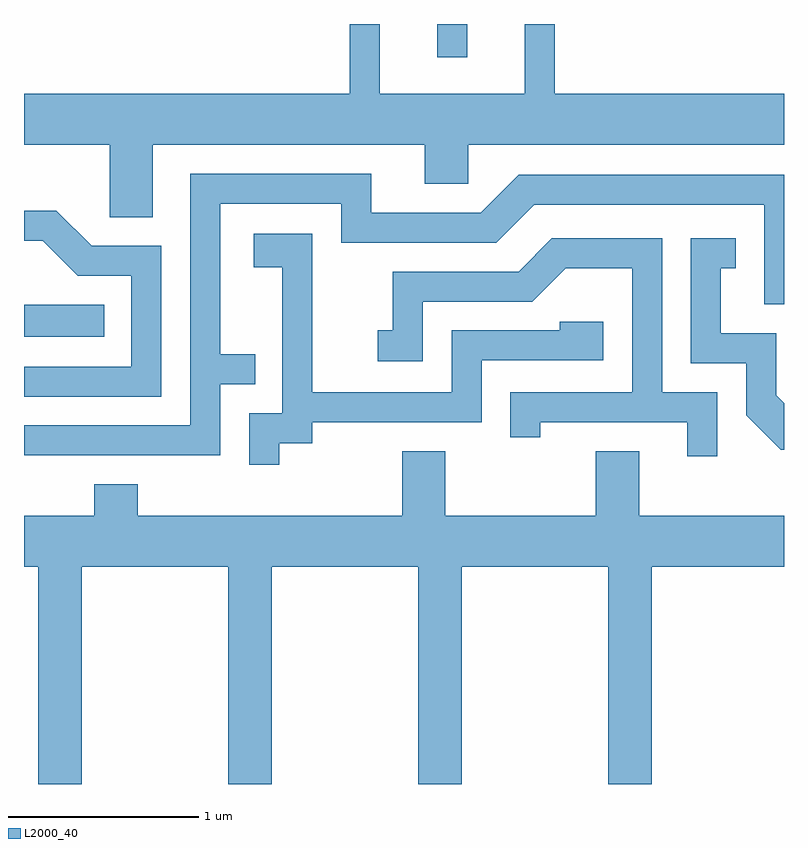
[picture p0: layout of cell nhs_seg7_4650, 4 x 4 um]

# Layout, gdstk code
import gdstk
lib = gdstk.Library(unit=1e-6, precision=1e-09)
def R(c, l, rs):  # rectangles x0, y0, x1, y1
    for r in rs: c.add(gdstk.rectangle(r[:2], r[2:], *l))
def P(c, l, *ps):  # polygons
    for p in ps: c.add(gdstk.Polygon(p, *l))
L2000_40 = (2000, 40)

nhs_seg7_4650 = lib.new_cell('nhs_seg7_4650')
R(nhs_seg7_4650, L2000_40, [(327.611,1746.606,328.033,1746.774), (329.786,1748.078,329.944,1748.252)])
P(nhs_seg7_4650, L2000_40, [(328.289,1747.616),(329.721,1747.616),(329.721,1747.411),(329.949,1747.411),(329.949,1747.616),(331.611,1747.616),(331.611,1747.884),(330.404,1747.884),(330.404,1748.252),(330.246,1748.252),(330.246,1747.884),(329.484,1747.884),(329.484,1748.252),(329.326,1748.252),(329.326,1747.884),(327.611,1747.884),(327.611,1747.616),(328.061,1747.616),(328.061,1747.236),(328.289,1747.236)],
  [(328.644,1746.356),(328.828,1746.356),(328.828,1746.514),(328.644,1746.514),(328.644,1747.306),(329.281,1747.306),(329.281,1747.101),(330.097,1747.101),(330.297,1747.301),(331.506,1747.301),(331.506,1746.776),(331.611,1746.776),(331.611,1747.459),(330.214,1747.459),(330.014,1747.259),(329.439,1747.259),(329.439,1747.464),(328.486,1747.464),(328.486,1746.139),(327.611,1746.139),(327.611,1745.981),(328.644,1745.981)],
  [(328.334,1747.084),(327.967,1747.084),(327.782,1747.269),(327.611,1747.269),(327.611,1747.111),(327.709,1747.111),(327.894,1746.926),(328.176,1746.926),(328.176,1746.449),(327.611,1746.449),(327.611,1746.291),(328.334,1746.291)],
  [(328.954,1746.046),(329.129,1746.046),(329.129,1746.156),(330.019,1746.156),(330.019,1746.481),(330.659,1746.481),(330.659,1746.684),(330.431,1746.684),(330.431,1746.639),(329.861,1746.639),(329.861,1746.314),(329.129,1746.314),(329.129,1747.149),(328.821,1747.149),(328.821,1746.971),(328.971,1746.971),(328.971,1746.204),(328.796,1746.204),(328.796,1745.933),(328.954,1745.933)],
  [(331.611,1746.255),(331.569,1746.297),(331.569,1746.624),(331.279,1746.624),(331.279,1746.966),(331.358,1746.966),(331.358,1747.124),(331.121,1747.124),(331.121,1746.466),(331.411,1746.466),(331.411,1746.194),(331.594,1746.011),(331.611,1746.011)],
  [(331.259,1746.314),(330.969,1746.314),(330.969,1747.124),(330.389,1747.124),(330.214,1746.949),(329.551,1746.949),(329.551,1746.639),(329.473,1746.639),(329.473,1746.476),(329.709,1746.476),(329.709,1746.791),(330.287,1746.791),(330.462,1746.966),(330.811,1746.966),(330.811,1746.314),(330.171,1746.314),(330.171,1746.078),(330.329,1746.078),(330.329,1746.156),(331.101,1746.156),(331.101,1745.978),(331.259,1745.978)],
  [(327.914,1745.396),(328.686,1745.396),(328.686,1744.252),(328.914,1744.252),(328.914,1745.396),(329.686,1745.396),(329.686,1744.252),(329.914,1744.252),(329.914,1745.396),(330.686,1745.396),(330.686,1744.252),(330.914,1744.252),(330.914,1745.396),(331.611,1745.396),(331.611,1745.664),(330.849,1745.664),(330.849,1746.004),(330.621,1746.004),(330.621,1745.664),(329.829,1745.664),(329.829,1746.004),(329.601,1746.004),(329.601,1745.664),(328.209,1745.664),(328.209,1745.829),(327.981,1745.829),(327.981,1745.664),(327.611,1745.664),(327.611,1745.396),(327.686,1745.396),(327.686,1744.252),(327.914,1744.252)])

lib.write_gds('nhs_seg7_4650.gds')
